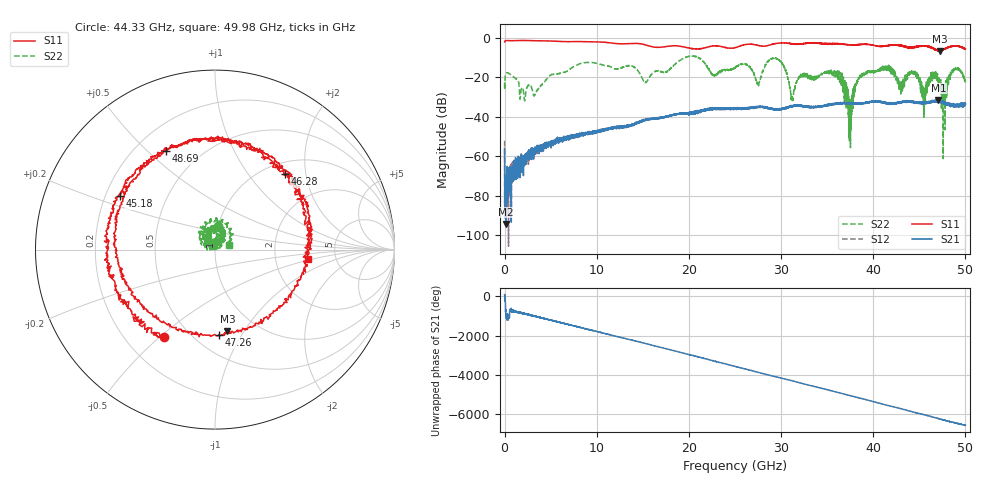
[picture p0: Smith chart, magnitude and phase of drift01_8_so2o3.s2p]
!Created with skrf (http://scikit-rf.org).
# Hz S RI R 50.0
!freq ReS11 ImS11 ReS21 ImS21 ReS12 ImS12 ReS22 ImS22
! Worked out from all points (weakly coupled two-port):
!   10001 points, 300 kHz to 50 GHz, reference 50 ohm
!   highest |S21| = -31.49 dB at 47.07 GHz (marker M1); lowest = -94.4 dB at 160.3 MHz (marker M2)
!   lowest |S11| = -6.8 dB at 47.21 GHz (marker M3), VSWR 2.70, Z = 36.8 - j42.3 ohm
!   |S11| at or under -10 dB: nowhere
!   |S22| runs from -61.3 to -9.2 dB; largest |S21 - S12| = 0.0038
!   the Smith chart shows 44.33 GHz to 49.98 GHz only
!   S11 on the Smith chart (normalised r, x): 44.33 GHz: 0.36, -0.52; 45.18 GHz: 0.26, +0.25; 46.28 GHz: 1.23, +1.53; 47.26 GHz: 0.65, -0.80; 48.69 GHz: 0.32, +0.57; 49.98 GHz: 3.12, -0.44
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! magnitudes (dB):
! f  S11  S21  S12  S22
! 300 kHz  -2.1  -56.0  -52.3  -22.6
! 160.3 MHz  -1.5  -94.4  -80.1  -17.8
! 3.29 GHz  -1.5  -58.9  -58.1  -28.9
! 8.335 GHz  -1.9  -48.9  -49.2  -12.9
! 16.67 GHz  -4.9  -40.8  -40.8  -16.7
! 25 GHz  -5.0  -36.0  -35.9  -15.2
! 29.59 GHz  -2.8  -36.4  -36.4  -10.7
! 31.23 GHz  -3.1  -34.7  -34.6  -31.0
! 33.34 GHz  -2.6  -35.2  -35.0  -20.1
! 36.21 GHz  -3.2  -33.4  -33.2  -21.6
! 37.49 GHz  -3.6  -33.2  -33.4  -39.7
! 38.63 GHz  -3.4  -33.6  -33.3  -19.7
! 41.67 GHz  -3.9  -33.2  -33.2  -15.8
! 44.33 GHz  -5.0  -32.8  -32.4  -17.5
! 45.18 GHz  -4.3  -33.0  -32.9  -24.3
! 46.28 GHz  -4.8  -32.2  -32.5  -18.6
! 47.07 GHz  -6.5  -31.5  -32.0  -23.3
! 47.21 GHz  -6.8  -32.2  -32.2  -25.2
! 47.26 GHz  -6.4  -32.6  -32.0  -24.7
! 48.69 GHz  -4.2  -34.2  -34.5  -16.3
! 49.98 GHz  -5.6  -33.7  -33.2  -21.8
! 50 GHz  -5.6  -33.6  -33.6  -22.0
